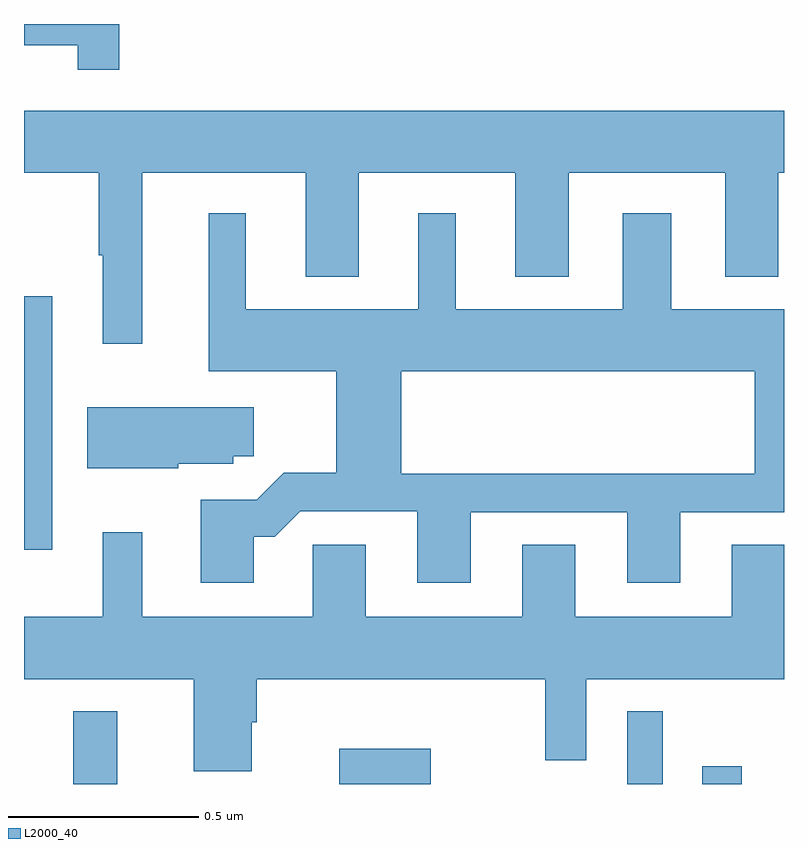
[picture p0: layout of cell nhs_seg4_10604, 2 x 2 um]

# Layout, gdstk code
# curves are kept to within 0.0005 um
import gdstk
lib = gdstk.Library(unit=1e-6, precision=1e-09)
def R(c, l, rs):  # rectangles x0, y0, x1, y1
    for r in rs: c.add(gdstk.rectangle(r[:2], r[2:], *l))
def P(c, l, *ps):  # polygons
    for p in ps: c.add(gdstk.Polygon(p, *l))
L2000_40 = (2000, 40)

nhs_seg4_10604 = lib.new_cell('nhs_seg4_10604')
R(nhs_seg4_10604, L2000_40, [(242.129,773.9,242.245,774.091), (242.83,773.9,243.07,773.993), (243.588,773.9,243.681,774.091), (243.785,773.9,243.889,773.947), (242,774.516,242.074,775.183)])
P(nhs_seg4_10604, L2000_40, [(242.25,775.9),(242,775.9),(242,775.844),(242.142,775.844),(242.142,775.779),(242.25,775.779)],
  [(242.311,775.508),(242.741,775.508),(242.741,775.235),(242.881,775.235),(242.881,775.508),(243.293,775.508),(243.293,775.235),(243.433,775.235),(243.433,775.508),(243.845,775.508),(243.845,775.235),(243.985,775.235),(243.985,775.508),(244,775.508),(244,775.672),(242,775.672),(242,775.508),(242.197,775.508),(242.197,775.292),(242.207,775.292),(242.207,775.059),(242.311,775.059)],
  [(242.465,774.648),(242.465,774.429),(242.605,774.429),(242.605,774.551),(242.66,774.551),(242.727,774.618),(243.035,774.618),(243.035,774.429),(243.175,774.429),(243.175,774.615),(243.587,774.615),(243.587,774.429),(243.727,774.429),(243.727,774.615),(244,774.615),(244,775.15),(243.703,775.15),(243.703,775.402),(243.575,775.402),(243.575,775.15),(243.136,775.15),(243.136,775.402),(243.038,775.402),(243.038,775.15),(242.584,775.15),(242.584,775.402),(242.486,775.402),(242.486,774.986),(242.822,774.986),(242.822,774.719),(242.684,774.719),(242.681,774.716),(242.993,774.716),(242.993,774.986),(243.923,774.986),(243.923,774.716),(242.681,774.716),(242.613,774.648)],
  [(242.406,774.743),(242.55,774.743),(242.55,774.763),(242.605,774.763),(242.605,774.892),(242.166,774.892),(242.166,774.731),(242.406,774.731)],
  [(242.599,774.063),(242.612,774.063),(242.612,774.176),(243.372,774.176),(243.372,773.962),(243.48,773.962),(243.48,774.176),(244,774.176),(244,774.53),(243.863,774.53),(243.863,774.34),(243.451,774.34),(243.451,774.53),(243.311,774.53),(243.311,774.34),(242.899,774.34),(242.899,774.53),(242.76,774.53),(242.76,774.34),(242.311,774.34),(242.311,774.562),(242.207,774.562),(242.207,774.34),(242,774.34),(242,774.176),(242.447,774.176),(242.447,773.934),(242.599,773.934)])

lib.write_gds('nhs_seg4_10604.gds')
